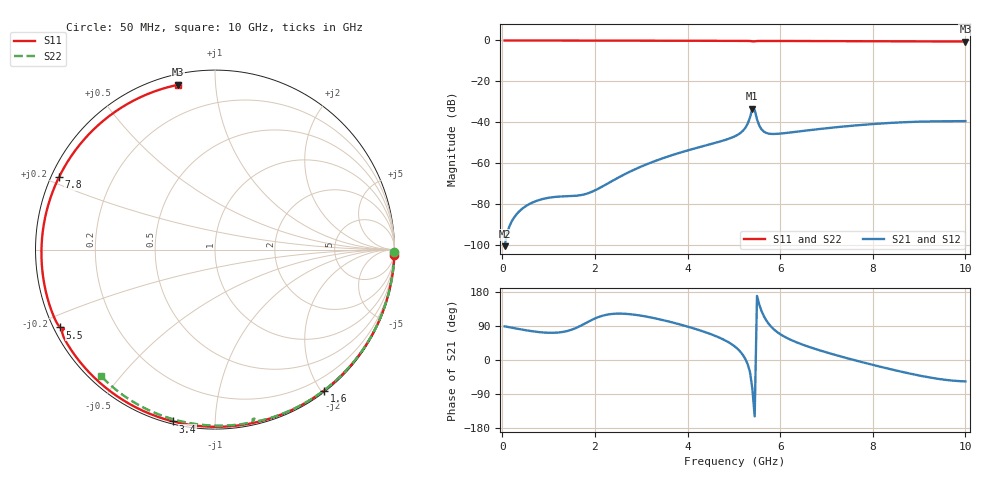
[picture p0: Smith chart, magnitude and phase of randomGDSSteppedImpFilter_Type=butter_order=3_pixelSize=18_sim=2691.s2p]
! freq	dB(S11)	phase(S11)	dB(S12)	phase(S12)
!  dB(S21)	phase(S21)	dB(S22)	phase(S22)
!S-par simulation data
#  GHz  S  DB  R 50
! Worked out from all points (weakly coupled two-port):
!   200 points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, 50 MHz to 10 GHz, reference 50 ohm
!   highest |S21| = -33.26 dB at 5.4 GHz (marker M1); lowest = -100.5 dB at 50 MHz (marker M2)
!   lowest |S11| = -0.5 dB at 10 GHz (marker M3), VSWR 32.89, Z = 2.49 + j39.9 ohm
!   |S11| at or under -10 dB: nowhere
!   |S22| runs from -0.5 to 0.0 dB; largest |S21 - S12| = 0
!   S11 on the Smith chart (normalised r, x): 50 MHz: 0, -67; 1.6 GHz: 0.02, -2.04; 3.4 GHz: 0.01, -0.79; 5.5 GHz: 0.02, -0.24; 7.8 GHz: 0.02, +0.22; 10 GHz: 0.05, +0.80
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0.05  -0.00 -1.7  -100.52 88.8  -100.52 88.8  -0.00 -0.8
0.55  -0.03 -18.4  -80.36 77.7  -80.36 77.7  -0.01 -8.3
0.8  -0.03 -26.7  -77.93 73.5  -77.93 73.5  -0.02 -12.1
1.6  -0.06 -52.3  -75.88 84.9  -75.88 84.9  -0.03 -24.0
1.75  -0.07 -56.9  -75.33 94.0  -75.33 94.0  -0.03 -26.2
2  -0.08 -64.5  -73.27 109.6  -73.27 109.6  -0.04 -29.9
2.55  -0.10 -80.6  -66.47 122.4  -66.47 122.4  -0.05 -37.9
3.4  -0.13 -103.7  -58.08 107.2  -58.08 107.2  -0.07 -50.0
4.15  -0.15 -122.7  -52.80 82.8  -52.80 82.8  -0.08 -60.3
5.05  -0.20 -144.1  -46.50 32.7  -46.50 32.7  -0.11 -72.4
5.25  -0.22 -148.9  -42.65 2.4  -42.65 2.4  -0.13 -75.2
5.35  -0.28 -151.6  -37.54 -32.7  -37.54 -32.7  -0.17 -76.8
5.4  -0.44 -152.8  -33.26 -76.0  -33.26 -76.0  -0.29 -77.5
5.45  -0.44 -152.2  -33.91 -148.9  -33.91 -148.9  -0.29 -76.9
5.5  -0.30 -153.3  -38.54 169.2  -38.54 169.2  -0.19 -77.5
5.6  -0.25 -155.9  -43.50 128.6  -43.50 128.6  -0.15 -79.1
5.75  -0.24 -159.5  -45.50 95.9  -45.50 95.9  -0.14 -81.1
6.7  -0.29 179.4  -43.65 31.5  -43.65 31.5  -0.18 -93.1
7.8  -0.37 154.9  -41.20 -6.6  -41.20 -6.6  -0.25 -106.3
8.35  -0.41 142.4  -40.33 -23.3  -40.33 -23.3  -0.29 -112.8
9.2  -0.47 122.4  -39.58 -45.5  -39.58 -45.5  -0.37 -122.6
10  -0.53 102.7  -39.40 -56.4  -39.40 -56.4  -0.46 -131.8
